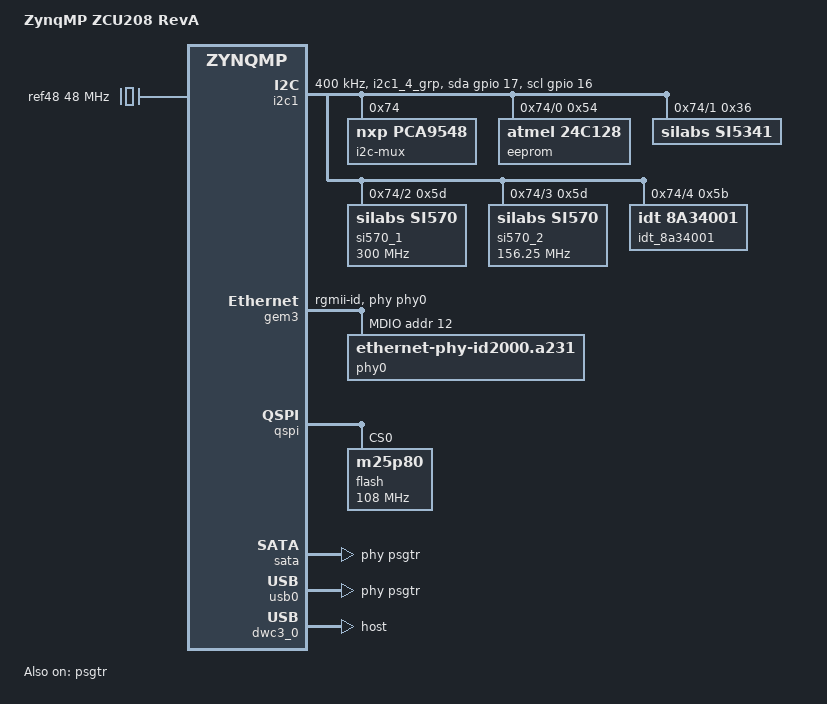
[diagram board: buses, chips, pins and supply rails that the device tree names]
// SPDX-License-Identifier: GPL-2.0+
/*
 * dts file for Xilinx ZynqMP ZCU208
 *
 * (C) Copyright 2017-2022 Xilinx, Inc.
 * (C) Copyright 2022-2024 Advanced Micro Devices, Inc. All Rights Reserved.
 *
 * Michal Simek <michal.simek@amd.com>
 */

/include/ "system-conf.dtsi"


/ {
	model = "ZynqMP ZCU208 RevA";
	compatible = "xlnx,zynqmp-zcu208-revA", "xlnx,zynqmp-zcu208", "xlnx,zynqmp";

	aliases {
		ethernet0 = &gem3;
		i2c0 = &i2c0;
		i2c1 = &i2c1;
		mmc0 = &sdhci1;
		nvmem0 = &eeprom;
		rtc0 = &rtc;
		serial0 = &uart0;
		serial1 = &dcc;
		spi0 = &qspi;
		usb0 = &usb0;
	};


	/* 48MHz reference crystal */
	ref48: ref48M {
		compatible = "fixed-clock";
		#clock-cells = <0>;
		clock-frequency = <48000000>;
	};
};

&gpio {
	gpio-line-names = "QSPI_LWR_CLK", "QSPI_LWR_DQ1", "QSPI_LWR_DQ2", "QSPI_LWR_DQ3", "QSPI_LWR_DQ0", /* 0 - 4 */
		  "QSPI_LWR_CS_B", "", "QSPI_UPR_CS_B", "QSPI_UPR_DQ0", "QSPI_UPR_DQ1", /* 5 - 9 */
		  "QSPI_UPR_DQ2", "QSPI_UPR_DQ3", "QSPI_UPR_CLK", "PS_GPIO2", "I2C0_SCL", /* 10 - 14 */
		  "I2C0_SDA", "I2C1_SCL", "I2C1_SDA", "UART0_TXD", "UART0_RXD", /* 15 - 19 */
		  "", "", "BUTTON", "LED", "", /* 20 - 24 */
		  "", "PMU_INPUT", "", "", "", /* 25 - 29 */
		  "", "", "PMU_GPO0", "PMU_GPO1", "PMU_GPO2", /* 30 - 34 */
		  "PMU_GPO3", "PMU_GPO4", "PMU_GPO5", "PS_GPIO1", "SDIO_SEL", /* 35 - 39 */
		  "SDIO_DIR_CMD", "SDIO_DIR_DAT0", "SDIO_DIR_DAT1", "", "", /* 40 - 44 */
		  "SDIO_DETECT", "SDIO_DAT0", "SDIO_DAT1", "SDIO_DAT2", "SDIO_DAT3", /* 45 - 49 */
		  "SDIO_CMD", "SDIO_CLK", "USB_CLK", "USB_DIR", "USB_DATA2", /* 50 - 54 */
		  "USB_NXT", "USB_DATA0", "USB_DATA1", "USB_STP", "USB_DATA3", /* 55 - 59 */
		  "USB_DATA4", "USB_DATA5", "USB_DATA6", "USB_DATA7", "ENET_TX_CLK", /* 60 - 64 */
		  "ENET_TX_D0", "ENET_TX_D1", "ENET_TX_D2", "ENET_TX_D3", "ENET_TX_CTRL", /* 65 - 69 */
		  "ENET_RX_CLK", "ENET_RX_D0", "ENET_RX_D1", "ENET_RX_D2", "ENET_RX_D3", /* 70 - 74 */
		  "ENET_RX_CTRL", "ENET_MDC", "ENET_MDIO", /* 75 - 77, MIO end and EMIO start */
		  "", "", /* 78 - 79 */
		  "", "", "", "", "", /* 80 - 84 */
		  "", "", "", "", "", /* 85 -89 */
		  "", "", "", "", "", /* 90 - 94 */
		  "", "", "", "", "", /* 95 - 99 */
		  "", "", "", "", "", /* 100 - 104 */
		  "", "", "", "", "", /* 105 - 109 */
		  "", "", "", "", "", /* 110 - 114 */
		  "", "", "", "", "", /* 115 - 119 */
		  "", "", "", "", "", /* 120 - 124 */
		  "", "", "", "", "", /* 125 - 129 */
		  "", "", "", "", "", /* 130 - 134 */
		  "", "", "", "", "", /* 135 - 139 */
		  "", "", "", "", "", /* 140 - 144 */
		  "", "", "", "", "", /* 145 - 149 */
		  "", "", "", "", "", /* 150 - 154 */
		  "", "", "", "", "", /* 155 - 159 */
		  "", "", "", "", "", /* 160 - 164 */
		  "", "", "", "", "", /* 165 - 169 */
		  "", "", "", ""; /* 170 - 173 */
};

&i2c1 {
	clock-frequency = <400000>;
	pinctrl-names = "default", "gpio";
	pinctrl-0 = <&pinctrl_i2c1_default>;
	pinctrl-1 = <&pinctrl_i2c1_gpio>;
	scl-gpios = <&gpio 16 6>;
	sda-gpios = <&gpio 17 6>;

	i2c-mux@74 {
		compatible = "nxp,pca9548"; /* u20 */
		#address-cells = <1>;
		#size-cells = <0>;
		reg = <0x74>;
		i2c-mux-idle-disconnect;
		i2c_eeprom: i2c@0 {
			#address-cells = <1>;
			#size-cells = <0>;
			reg = <0>;
			/*
			 * IIC_EEPROM 1kB memory which uses 256B blocks
			 * where every block has different address.
			 *    0 - 256B address 0x54
			 * 256B - 512B address 0x55
			 * 512B - 768B address 0x56
			 * 768B - 1024B address 0x57
			 */
			eeprom: eeprom@54 { /* u21 */
				compatible = "atmel,24c128";
				reg = <0x54>;
			};
		};
		i2c_si5341: i2c@1 {
			#address-cells = <1>;
			#size-cells = <0>;
			reg = <1>;
			si5341: clock-generator@36 { /* SI5341 - u43 */
				compatible = "silabs,si5341";
				reg = <0x36>;
				#clock-cells = <2>;
				#address-cells = <1>;
				#size-cells = <0>;
				clocks = <&ref48>;
				clock-names = "xtal";
				clock-output-names = "si5341";

				si5341_2: out@2 {
					/* refclk2 for PS-GT, used for USB3 */
					reg = <2>;
					always-on;
				};
				si5341_3: out@3 {
					/* refclk3 for PS-GT, used for SATA */
					reg = <3>;
					always-on;
				};
				si5341_5: out@5 {
					/* refclk5 PL CLK100 */
					reg = <5>;
					always-on;
				};
				si5341_6: out@6 {
					/* refclk6 PL CLK125 */
					reg = <6>;
					always-on;
				};
				si5341_9: out@9 {
					/* refclk9 used for PS_REF_CLK 33.3 MHz */
					reg = <9>;
					always-on;
				};
			};
		};
		i2c_si570_user_c0: i2c@2 {
			#address-cells = <1>;
			#size-cells = <0>;
			reg = <2>;
			si570_1: clock-generator@5d { /* USER C0 SI570 - u47 */
				#clock-cells = <0>;
				compatible = "silabs,si570";
				reg = <0x5d>;
				temperature-stability = <50>;
				factory-fout = <300000000>;
				clock-frequency = <300000000>;
				clock-output-names = "si570_user_c0";
			};
		};
		i2c_si570_mgt: i2c@3 {
			#address-cells = <1>;
			#size-cells = <0>;
			reg = <3>;
			si570_2: clock-generator@5d { /* USER MGT SI570 - u48 */
				#clock-cells = <0>;
				compatible = "silabs,si570";
				reg = <0x5d>;
				temperature-stability = <50>;
				factory-fout = <156250000>;
				clock-frequency = <156250000>;
				clock-output-names = "si570_mgt";
			};
		};
		i2c_8a34001: i2c@4 {
			#address-cells = <1>;
			#size-cells = <0>;
			reg = <4>;
			idt_8a34001: phc@5b {
				compatible = "idt,8a34001"; /* u409B */
				reg = <0x5b>;
			};
		};
		i2c_clk104: i2c@5 {
			#address-cells = <1>;
			#size-cells = <0>;
			reg = <5>;
			/* CLK104_SDA */
		};
		i2c@6 {
			#address-cells = <1>;
			#size-cells = <0>;
			reg = <6>;
			/* RFMCP connector */
		};
		/* 7 NC */
	};
};

&pinctrl0 {
	status = "okay";
	pinctrl_i2c0_default: i2c0-default {
		mux {
			groups = "i2c0_3_grp";
			function = "i2c0";
		};

		conf {
			groups = "i2c0_3_grp";
			bias-pull-up;
			slew-rate = <SLEW_RATE_SLOW>;
			power-source = <IO_STANDARD_LVCMOS18>;
		};
	};

	pinctrl_i2c0_gpio: i2c0-gpio-grp {
		mux {
			groups = "gpio0_14_grp", "gpio0_15_grp";
			function = "gpio0";
		};

		conf {
			groups = "gpio0_14_grp", "gpio0_15_grp";
			slew-rate = <SLEW_RATE_SLOW>;
			power-source = <IO_STANDARD_LVCMOS18>;
		};
	};

	pinctrl_i2c1_default: i2c1-default {
		mux {
			groups = "i2c1_4_grp";
			function = "i2c1";
		};

		conf {
			groups = "i2c1_4_grp";
			bias-pull-up;
			slew-rate = <SLEW_RATE_SLOW>;
			power-source = <IO_STANDARD_LVCMOS18>;
		};
	};

	pinctrl_i2c1_gpio: i2c1-gpio-grp {
		mux {
			groups = "gpio0_16_grp", "gpio0_17_grp";
			function = "gpio0";
		};

		conf {
			groups = "gpio0_16_grp", "gpio0_17_grp";
			slew-rate = <SLEW_RATE_SLOW>;
			power-source = <IO_STANDARD_LVCMOS18>;
		};
	};
};

&gem3 {
	phy-handle = <&phy0>;
	phy-mode = "rgmii-id";
	mdio: mdio {
		#address-cells = <1>;
		#size-cells = <0>;
		phy0: ethernet-phy@c {
			#phy-cells = <1>;
			compatible = "ethernet-phy-id2000.a231";
			reg = <0xc>;
			ti,rx-internal-delay = <0x8>;
			ti,tx-internal-delay = <0xa>;
			ti,fifo-depth = <0x1>;
			ti,dp83867-rxctrl-strap-quirk;
		};
	};
};

&qspi {
	num-cs = <2>;
	flash@0 {
		compatible = "m25p80", "jedec,spi-nor"; /* U11 and U12 MT25QU02GCBBE12 1Gb */
		#address-cells = <1>;
		#size-cells = <1>;
		reg = <0>, <1>;
		parallel-memories = /bits/ 64 <0x10000000 0x10000000>; /* 256MB */
		spi-tx-bus-width = <4>;
		spi-rx-bus-width = <4>; /* FIXME also DUAL configuration possible */
		spi-max-frequency = <108000000>; /* Based on DC1 spec */
	};
};

&psgtr {
	status = "okay";
	/* nc, nc, usb3, sata */
	clocks = <&si5341 0 2>, <&si5341 0 3>;
	clock-names = "ref2", "ref3";
};


&sata {
	/* SATA OOB timing settings */
	ceva,p0-cominit-params = /bits/ 8 <0x18 0x40 0x18 0x28>;
	ceva,p0-comwake-params = /bits/ 8 <0x06 0x14 0x08 0x0E>;
	ceva,p0-burst-params = /bits/ 8 <0x13 0x08 0x4A 0x06>;
	ceva,p0-retry-params = /bits/ 16 <0x96A4 0x3FFC>;
	ceva,p1-cominit-params = /bits/ 8 <0x18 0x40 0x18 0x28>;
	ceva,p1-comwake-params = /bits/ 8 <0x06 0x14 0x08 0x0E>;
	ceva,p1-burst-params = /bits/ 8 <0x13 0x08 0x4A 0x06>;
	ceva,p1-retry-params = /bits/ 16 <0x96A4 0x3FFC>;
	phy-names = "sata-phy";
	phys = <&psgtr 3 1 1 3>;
};

/* SD1 with level shifter */
&sdhci1 {
	disable-wp;
	/*
	 * This property should be removed for supporting UHS mode
	 */
	no-1-8-v;
	xlnx,mio-bank = <1>;
};


/* ULPI SMSC USB3320 */
&usb0 {
	phy-names = "usb3-phy";
	phys = <&psgtr 2 4 0 2>;
};

&dwc3_0 {
	dr_mode = "host";
	snps,usb3_lpm_capable;
	maximum-speed = "super-speed";
};
